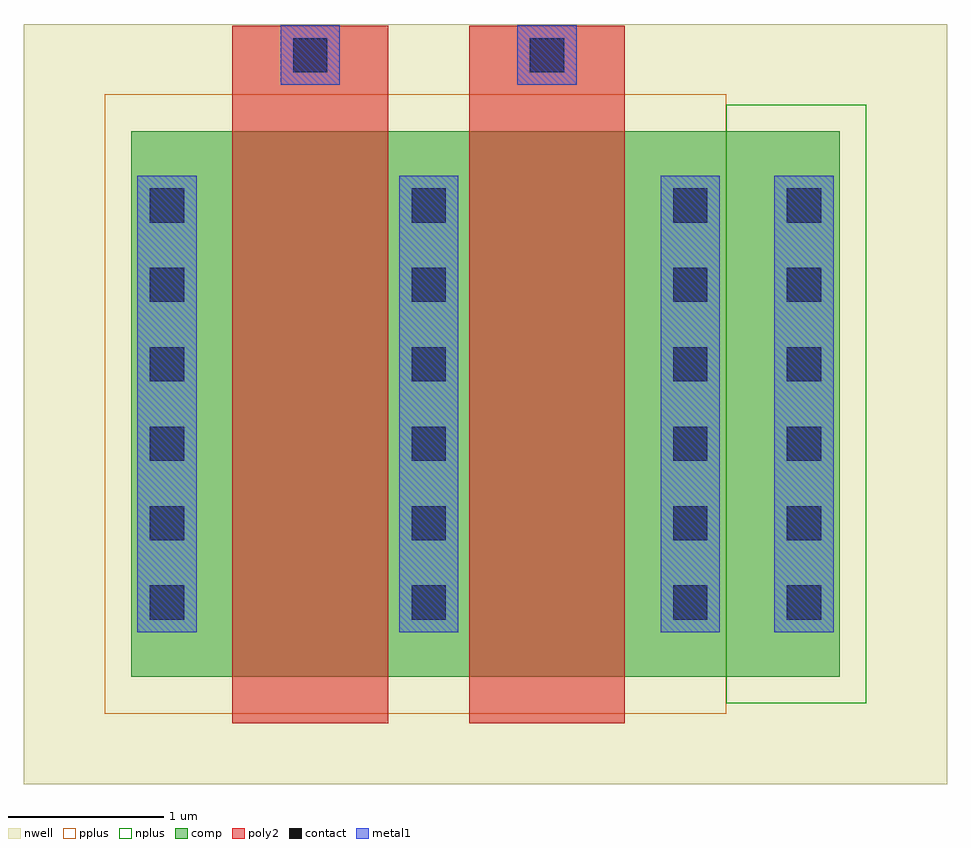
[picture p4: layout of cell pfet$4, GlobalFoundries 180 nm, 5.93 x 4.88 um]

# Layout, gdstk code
import gdstk
lib = gdstk.Library(unit=1e-6, precision=1e-09)
def R(c, l, rs):  # rectangles x0, y0, x1, y1
    for r in rs: c.add(gdstk.rectangle(r[:2], r[2:], *l))
def A(c, l, x, y, w, h, nx, ny, dx, dy):  # array of equal rectangles
    R(c, l, [(x+i*dx, y+j*dy, x+i*dx+w, y+j*dy+h) for i in range(nx) for j in range(ny)])
nwell = (21, 0)
comp = (22, 0)
poly2 = (30, 0)
pplus = (31, 0)
nplus = (32, 0)
contact = (33, 0)
metal1 = (34, 0)

pfet_4 = lib.new_cell('pfet$4')
R(pfet_4, nwell, [(-1.15,-0.69,4.78,4.19)])
R(pfet_4, comp, [(-0.46,0,0,3.5), (0,0,2.9,3.5), (2.9,0,3.36,3.5), (3.36,0,4.09,3.5)])
R(pfet_4, poly2, [(0.19,-0.3,1.19,3.8), (1.71,-0.3,2.71,3.8), (0.19,3.8,1.19,4.18), (1.71,3.8,2.71,4.18)])
R(pfet_4, pplus, [(-0.63,-0.24,3.36,3.74)])
R(pfet_4, nplus, [(3.36,-0.17,4.26,3.67)])
A(pfet_4, contact, -0.34, 0.365, 0.22, 0.22, 3, 6, 1.68, 0.51)
A(pfet_4, contact, 3.75, 0.365, 0.22, 0.22, 1, 6, 0, 0.51)
R(pfet_4, contact, [(0.58,3.88,0.8,4.1), (2.1,3.88,2.32,4.1)])
A(pfet_4, metal1, -0.42, 0.285, 0.38, 2.93, 3, 1, 1.68, 0)
R(pfet_4, metal1, [(3.67,0.285,4.05,3.215), (0.5,3.799,0.88,4.181), (2.02,3.799,2.4,4.181)])

lib.write_gds('pfet_4.gds')
